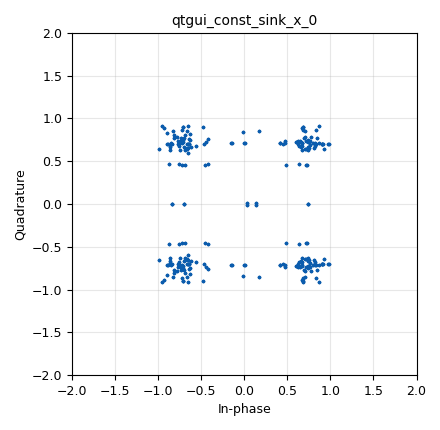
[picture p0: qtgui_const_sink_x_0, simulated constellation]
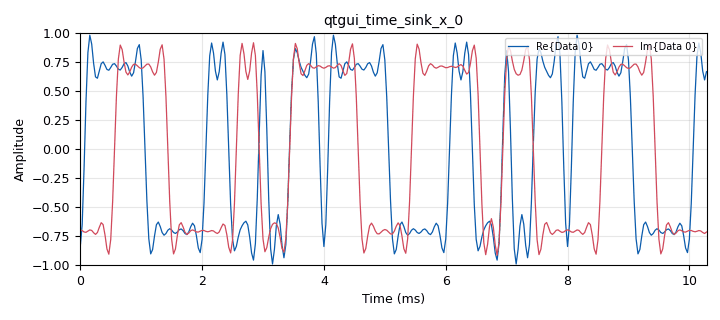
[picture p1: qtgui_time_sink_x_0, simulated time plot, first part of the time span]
options:
  parameters:
    generate_options: qt_gui
    id: PSKtran
    output_language: python
    title: PSKtran
  states: {}

blocks:
- name: arity
  id: variable
  parameters:
    value: '4'
  states: {}
- name: excess_bw
  id: variable
  parameters:
    value: '0.350'
  states: {}
- name: qpsk
  id: variable_constellation_rect
  parameters:
    const_points: '[0.707+0.707j, -0.707+0.707j, 0.707-0.707j, -0.707-0.707j]'
    imag_sect: '2'
    real_sect: '2'
    rot_sym: '4'
    sym_map: '[0, 1, 2, 3]'
    w_imag_sect: '1'
    w_real_sect: '1'
  states: {}
- name: samp_rate
  id: variable
  parameters:
    value: '32000'
  states: {}
- name: sps
  id: variable
  parameters:
    value: '4'
  states: {}
- name: analog_random_source_x_0
  id: analog_random_source_x
  parameters:
    max: '256'
    min: '0'
    num_samps: '1000'
    repeat: 'True'
    type: int
  states: {state: disabled}
- name: blocks_vector_source_x_0
  id: blocks_vector_source_x
  parameters:
    repeat: 'True'
    type: byte
    vector: '[1,8,3,6,5,4,7,2]'
  states: {}
- name: digital_constellation_modulator_0
  id: digital_constellation_modulator
  parameters:
    constellation: qpsk
    differential: 'True'
    excess_bw: excess_bw
    samples_per_symbol: '4'
  states: {}
- name: osmosdr_sink_0
  id: osmosdr_sink
  parameters:
    bb_gain0: '20'
    freq0: '153000000'
    gain0: '10'
    if_gain0: '20'
    sample_rate: samp_rate
    sync: pc_clock
    type: fc32
  states: {}
- name: qtgui_const_sink_x_0
  id: qtgui_const_sink_x
  parameters:
    size: '1024'
    type: complex
  states: {}
- name: qtgui_time_sink_x_0
  id: qtgui_time_sink_x
  parameters:
    size: '1024'
    srate: samp_rate
    type: complex
  states: {}

connections:
- [analog_random_source_x_0, '0', digital_constellation_modulator_0, '0']
- [blocks_vector_source_x_0, '0', digital_constellation_modulator_0, '0']
- [digital_constellation_modulator_0, '0', osmosdr_sink_0, '0']
- [digital_constellation_modulator_0, '0', qtgui_const_sink_x_0, '0']
- [digital_constellation_modulator_0, '0', qtgui_time_sink_x_0, '0']

metadata:
  file_format: 1
  grc_version: 3.10.9.2
